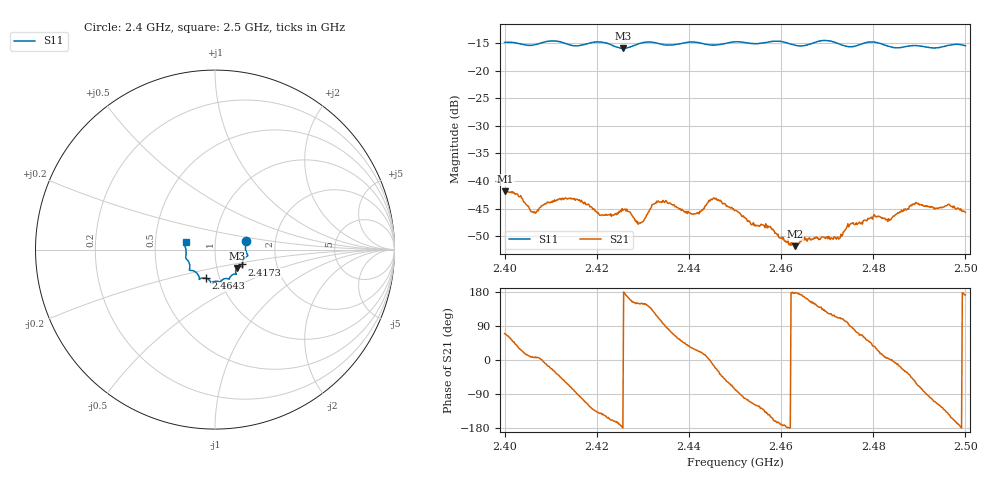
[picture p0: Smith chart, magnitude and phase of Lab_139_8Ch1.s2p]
# Hz S RI R 50
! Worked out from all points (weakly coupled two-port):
!   601 points, 2.4 GHz to 2.5 GHz, reference 50 ohm
!   highest |S21| = -41.86 dB at 2.4002 GHz (marker M1); lowest = -51.8 dB at 2.463 GHz (marker M2)
!   lowest |S11| = -15.9 dB at 2.4257 GHz (marker M3), VSWR 1.38, Z = 62.4 - j13.1 ohm
!   |S11| at or under -10 dB: start of sweep to end of sweep
!   S12 and S22 are empty: the file has one direction only
!   S11 on the Smith chart (normalised r, x): 2.4 GHz: 1.41, +0.14; 2.4173 GHz: 1.34, -0.23; 2.4643 GHz: 0.86, -0.28; 2.5 GHz: 0.72, +0.06
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2.4e9  0.174 0.0491  0.0028 0.00754  0 0  0 0
2.400167e9  0.1745 0.0486  0.0029 0.00753  0 0  0 0
2.406333e9  0.1712 -0.00323  0.00512 0.000578  0 0  0 0
2.412e9  0.1799 -0.0362  0.00497 -0.00485  0 0  0 0
2.416667e9  0.1528 -0.075  -0.00121 -0.00658  0 0  0 0
2.417333e9  0.1522 -0.0824  -0.00203 -0.00611  0 0  0 0
2.421e9  0.1543 -0.0965  -0.00379 -0.00309  0 0  0 0
2.425667e9  0.1224 -0.1024  -0.00543 -5.13e-05  0 0  0 0
2.4295e9  0.1167 -0.1344  -0.00352 0.00219  0 0  0 0
2.433333e9  0.1124 -0.1363  -0.00245 0.00612  0 0  0 0
2.441e9  0.0782 -0.1646  0.00432 0.00247  0 0  0 0
2.445833e9  0.048 -0.1642  0.00648 -0.0026  0 0  0 0
2.45e9  0.0294 -0.1807  0.00114 -0.00527  0 0  0 0
2.463e9  -0.0363 -0.1662  -0.00256 8.57e-05  0 0  0 0
2.464333e9  -0.0502 -0.1601  -0.0028 0.000393  0 0  0 0
2.466667e9  -0.0761 -0.1595  -0.0026 0.00145  0 0  0 0
2.472333e9  -0.0884 -0.1532  -0.00111 0.00289  0 0  0 0
2.475e9  -0.1065 -0.1262  7.31e-05 0.00406  0 0  0 0
2.4805e9  -0.1427 -0.1121  0.00402 0.00248  0 0  0 0
2.483333e9  -0.1404 -0.0897  0.00455 0.000244  0 0  0 0
2.489333e9  -0.163 -0.0449  0.00299 -0.00564  0 0  0 0
2.5e9  -0.1636 0.0417  -0.00514 0.000769  0 0  0 0
